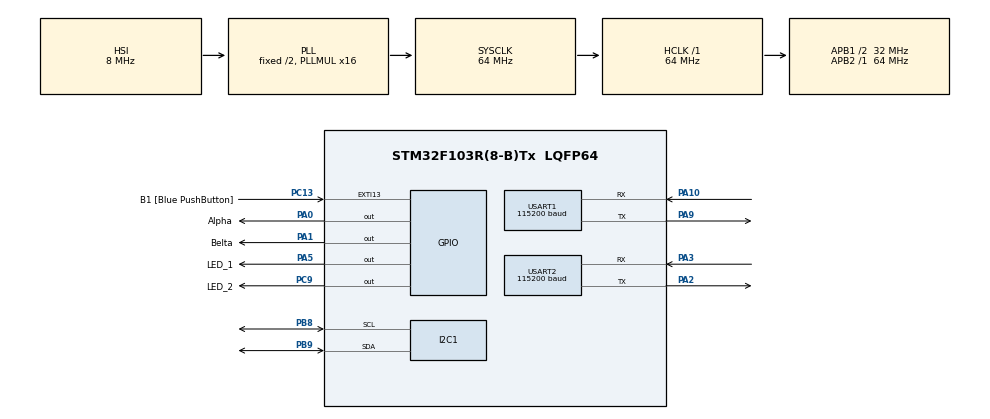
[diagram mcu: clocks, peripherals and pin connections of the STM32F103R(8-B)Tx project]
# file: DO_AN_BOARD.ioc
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Mcu.Family=STM32F1
Mcu.Name=STM32F103R(8-B)Tx
Mcu.Package=LQFP64
NVIC.EXTI15_10_IRQn=true\:0\:0\:false\:false\:true\:true\:true
NVIC.PriorityGroup=NVIC_PRIORITYGROUP_4
NVIC.TIM2_IRQn=true\:0\:0\:false\:false\:true\:true\:true
NVIC.USART1_IRQn=true\:0\:0\:false\:false\:true\:true\:true
NVIC.USART2_IRQn=true\:0\:0\:false\:false\:true\:true\:true
PA0-WKUP.GPIO_Label=Alpha
PA0-WKUP.Signal=GPIO_Output
PA1.GPIO_Label=Belta
PA1.Signal=GPIO_Output
PA10.Mode=Asynchronous
PA10.Signal=USART1_RX
PA13.GPIO_Label=TMS
PA13.Mode=Serial_Wire
PA13.Signal=SYS_JTMS-SWDIO
PA14.GPIO_Label=TCK
PA14.Mode=Serial_Wire
PA14.Signal=SYS_JTCK-SWCLK
PA2.Mode=Asynchronous
PA2.Signal=USART2_TX
PA3.Mode=Asynchronous
PA3.Signal=USART2_RX
PA5.GPIO_Label=LED_1
PA5.Signal=GPIO_Output
PA9.Mode=Asynchronous
PA9.Signal=USART1_TX
PB3.GPIO_Label=SWO
PB3.Signal=SYS_JTDO-TRACESWO
PB8.Mode=I2C
PB8.Signal=I2C1_SCL
PB9.Mode=I2C
PB9.Signal=I2C1_SDA
PC13-TAMPER-RTC.GPIO_Label=B1 [Blue PushButton]
PC13-TAMPER-RTC.GPIO_PuPd=GPIO_NOPULL
PC13-TAMPER-RTC.Signal=GPXTI13
PC14-OSC32_IN.Mode=LSE-External-Oscillator
PC14-OSC32_IN.Signal=RCC_OSC32_IN
PC15-OSC32_OUT.Mode=LSE-External-Oscillator
PC15-OSC32_OUT.Signal=RCC_OSC32_OUT
PC9.GPIO_Label=LED_2
PC9.Signal=GPIO_Output
PD0-OSC_IN.Mode=HSE-External-Clock-Source
PD0-OSC_IN.Signal=RCC_OSC_IN
PD1-OSC_OUT.Mode=HSE-External-Clock-Source
PD1-OSC_OUT.Signal=RCC_OSC_OUT
ProjectManager.HeapSize=0x200
ProjectManager.StackSize=0x400
ProjectManager.TargetToolchain=STM32CubeIDE
RCC.AHBFreq_Value=64000000
RCC.APB1CLKDivider=RCC_HCLK_DIV2
RCC.APB1Freq_Value=32000000
RCC.APB1TimFreq_Value=64000000
RCC.APB2Freq_Value=64000000
RCC.APB2TimFreq_Value=64000000
RCC.HCLKFreq_Value=64000000
RCC.PLLMUL=RCC_PLL_MUL16
RCC.RTCClockSelection=RCC_RTCCLKSOURCE_LSE
RCC.SYSCLKFreq_VALUE=64000000
RCC.SYSCLKSource=RCC_SYSCLKSOURCE_PLLCLK
RCC.USBFreq_Value=64000000
TIM2.Period=99
TIM2.Prescaler=6399
USART1.BaudRate=115200
USART1.VirtualMode=VM_ASYNC
USART2.BaudRate=115200
USART2.VirtualMode=VM_ASYNC
VP_TIM2_VS_ClockSourceINT.Mode=Internal
board=NUCLEO-F103RB

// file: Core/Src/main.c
/* USER CODE BEGIN Header */
/**
  ******************************************************************************
  * @file           : main.c
  * @brief          : Main program body
  ******************************************************************************
  * @attention
  *
  * <h2><center>&copy; Copyright (c) 2024 STMicroelectronics.
  * All rights reserved.</center></h2>
  *
  * This software component is licensed by ST under BSD 3-Clause license,
  * the "License"; You may not use this file except in compliance with the
  * License. You may obtain a copy of the License at:
  *                        opensource.org/licenses/BSD-3-Clause
  *
  ******************************************************************************
  */
/* USER CODE END Header */
#include "main.h"

/* USER CODE BEGIN Includes */
#include "dht20.h"
#include "I2C-LCD.h"
#include "scheduler.h"
#include "sofware_timer.h"
#include "fsm_system.h"
/* USER CODE END Includes */

I2C_HandleTypeDef hi2c1;

TIM_HandleTypeDef htim2;

UART_HandleTypeDef huart1;
UART_HandleTypeDef huart2;

void SystemClock_Config(void);
static void MX_GPIO_Init(void);
static void MX_I2C1_Init(void);
static void MX_TIM2_Init(void);
static void MX_USART2_UART_Init(void);
static void MX_USART1_UART_Init(void);

int main(void)
{

  /* MCU Configuration--------------------------------------------------------*/

  /* Reset of all peripherals, Initializes the Flash interface and the Systick. */
  HAL_Init();

  /* Configure the system clock */
  SystemClock_Config();

  /* Initialize all configured peripherals */
  MX_GPIO_Init();
  MX_I2C1_Init();
  MX_TIM2_Init();
  MX_USART2_UART_Init();
  MX_USART1_UART_Init();
  /* USER CODE BEGIN 2 */
//  LCD_I2C_Init();
  lcd_init();
  dht20_init();
  HAL_TIM_Base_Start_IT(&htim2);
  setTimer(100);

  /* USER CODE END 2 */

  /* Infinite loop */
  /* USER CODE BEGIN WHILE */
  while (1)
  {

	  HAL_UART_Transmit(&huart2, temp, sizeof(temp), 1000);
	  HAL_UART_Transmit(&huart1, humid, sizeof(humid), 1000);
	  dht20_output();
	  HAL_Delay(500);
	   init_variables() ;
    /* USER CODE END WHILE */

  }
}

void SystemClock_Config(void)
{
  RCC_OscInitTypeDef RCC_OscInitStruct = {0};
  RCC_ClkInitTypeDef RCC_ClkInitStruct = {0};

  /** Initializes the RCC Oscillators according to the specified parameters
  * in the RCC_OscInitTypeDef structure.
  */
  RCC_OscInitStruct.OscillatorType = RCC_OSCILLATORTYPE_HSI;
  RCC_OscInitStruct.HSIState = RCC_HSI_ON;
  RCC_OscInitStruct.HSICalibrationValue = RCC_HSICALIBRATION_DEFAULT;
  RCC_OscInitStruct.PLL.PLLState = RCC_PLL_ON;
  RCC_OscInitStruct.PLL.PLLSource = RCC_PLLSOURCE_HSI_DIV2;
  RCC_OscInitStruct.PLL.PLLMUL = RCC_PLL_MUL16;
  if (HAL_RCC_OscConfig(&RCC_OscInitStruct) != HAL_OK)
  {
    Error_Handler();
  }
  /** Initializes the CPU, AHB and APB buses clocks
  */
  RCC_ClkInitStruct.ClockType = RCC_CLOCKTYPE_HCLK|RCC_CLOCKTYPE_SYSCLK
                              |RCC_CLOCKTYPE_PCLK1|RCC_CLOCKTYPE_PCLK2;
  RCC_ClkInitStruct.SYSCLKSource = RCC_SYSCLKSOURCE_PLLCLK;
  RCC_ClkInitStruct.AHBCLKDivider = RCC_SYSCLK_DIV1;
  RCC_ClkInitStruct.APB1CLKDivider = RCC_HCLK_DIV2;
  RCC_ClkInitStruct.APB2CLKDivider = RCC_HCLK_DIV1;

  if (HAL_RCC_ClockConfig(&RCC_ClkInitStruct, FLASH_LATENCY_2) != HAL_OK)
  {
    Error_Handler();
  }
}

static void MX_I2C1_Init(void)
{

  hi2c1.Instance = I2C1;
  hi2c1.Init.ClockSpeed = 100000;
  hi2c1.Init.DutyCycle = I2C_DUTYCYCLE_2;
  hi2c1.Init.OwnAddress1 = 0;
  hi2c1.Init.AddressingMode = I2C_ADDRESSINGMODE_7BIT;
  hi2c1.Init.DualAddressMode = I2C_DUALADDRESS_DISABLE;
  hi2c1.Init.OwnAddress2 = 0;
  hi2c1.Init.GeneralCallMode = I2C_GENERALCALL_DISABLE;
  hi2c1.Init.NoStretchMode = I2C_NOSTRETCH_DISABLE;
  if (HAL_I2C_Init(&hi2c1) != HAL_OK)
  {
    Error_Handler();
  }

}

static void MX_TIM2_Init(void)
{

  TIM_ClockConfigTypeDef sClockSourceConfig = {0};
  TIM_MasterConfigTypeDef sMasterConfig = {0};

  htim2.Instance = TIM2;
  htim2.Init.Prescaler = 6399;
  htim2.Init.CounterMode = TIM_COUNTERMODE_UP;
  htim2.Init.Period = 99;
  htim2.Init.ClockDivision = TIM_CLOCKDIVISION_DIV1;
  htim2.Init.AutoReloadPreload = TIM_AUTORELOAD_PRELOAD_DISABLE;
  if (HAL_TIM_Base_Init(&htim2) != HAL_OK)
  {
    Error_Handler();
  }
  sClockSourceConfig.ClockSource = TIM_CLOCKSOURCE_INTERNAL;
  if (HAL_TIM_ConfigClockSource(&htim2, &sClockSourceConfig) != HAL_OK)
  {
    Error_Handler();
  }
  sMasterConfig.MasterOutputTrigger = TIM_TRGO_RESET;
  sMasterConfig.MasterSlaveMode = TIM_MASTERSLAVEMODE_DISABLE;
  if (HAL_TIMEx_MasterConfigSynchronization(&htim2, &sMasterConfig) != HAL_OK)
  {
    Error_Handler();
  }

}

static void MX_USART1_UART_Init(void)
{

  huart1.Instance = USART1;
  huart1.Init.BaudRate = 115200;
  huart1.Init.WordLength = UART_WORDLENGTH_8B;
  huart1.Init.StopBits = UART_STOPBITS_1;
  huart1.Init.Parity = UART_PARITY_NONE;
  huart1.Init.Mode = UART_MODE_TX_RX;
  huart1.Init.HwFlowCtl = UART_HWCONTROL_NONE;
  huart1.Init.OverSampling = UART_OVERSAMPLING_16;
  if (HAL_UART_Init(&huart1) != HAL_OK)
  {
    Error_Handler();
  }

}

static void MX_USART2_UART_Init(void)
{

  huart2.Instance = USART2;
  huart2.Init.BaudRate = 115200;
  huart2.Init.WordLength = UART_WORDLENGTH_8B;
  huart2.Init.StopBits = UART_STOPBITS_1;
  huart2.Init.Parity = UART_PARITY_NONE;
  huart2.Init.Mode = UART_MODE_TX_RX;
  huart2.Init.HwFlowCtl = UART_HWCONTROL_NONE;
  huart2.Init.OverSampling = UART_OVERSAMPLING_16;
  if (HAL_UART_Init(&huart2) != HAL_OK)
  {
    Error_Handler();
  }

}

static void MX_GPIO_Init(void)
{
  GPIO_InitTypeDef GPIO_InitStruct = {0};

  /* GPIO Ports Clock Enable */
  __HAL_RCC_GPIOC_CLK_ENABLE();
  __HAL_RCC_GPIOD_CLK_ENABLE();
  __HAL_RCC_GPIOA_CLK_ENABLE();
  __HAL_RCC_GPIOB_CLK_ENABLE();

  /*Configure GPIO pin Output Level */
  HAL_GPIO_WritePin(GPIOA, Alpha_Pin|Belta_Pin|LED_1_Pin, GPIO_PIN_RESET);

  /*Configure GPIO pin Output Level */
  HAL_GPIO_WritePin(LED_2_GPIO_Port, LED_2_Pin, GPIO_PIN_RESET);

  /*Configure GPIO pin : B1_Pin */
  GPIO_InitStruct.Pin = B1_Pin;
  GPIO_InitStruct.Mode = GPIO_MODE_IT_RISING;
  GPIO_InitStruct.Pull = GPIO_NOPULL;
  HAL_GPIO_Init(B1_GPIO_Port, &GPIO_InitStruct);

  /*Configure GPIO pins : Alpha_Pin Belta_Pin LED_1_Pin */
  GPIO_InitStruct.Pin = Alpha_Pin|Belta_Pin|LED_1_Pin;
  GPIO_InitStruct.Mode = GPIO_MODE_OUTPUT_PP;
  GPIO_InitStruct.Pull = GPIO_NOPULL;
  GPIO_InitStruct.Speed = GPIO_SPEED_FREQ_LOW;
  HAL_GPIO_Init(GPIOA, &GPIO_InitStruct);

  /*Configure GPIO pin : LED_2_Pin */
  GPIO_InitStruct.Pin = LED_2_Pin;
  GPIO_InitStruct.Mode = GPIO_MODE_OUTPUT_PP;
  GPIO_InitStruct.Pull = GPIO_NOPULL;
  GPIO_InitStruct.Speed = GPIO_SPEED_FREQ_LOW;
  HAL_GPIO_Init(LED_2_GPIO_Port, &GPIO_InitStruct);

  /* EXTI interrupt init*/
  HAL_NVIC_SetPriority(EXTI15_10_IRQn, 0, 0);
  HAL_NVIC_EnableIRQ(EXTI15_10_IRQn);

}

/* USER CODE BEGIN 4 */
void HAL_TIM_PeriodElapsedCallback(TIM_HandleTypeDef *htim)
{
	if (htim->Instance == TIM2) {
		SCH_Update();
	}
	timeRun();
}
/* USER CODE END 4 */

void Error_Handler(void)
{
  __disable_irq();
  while (1)
  {
  }
}

/************************ (C) COPYRIGHT STMicroelectronics *****END OF FILE****/
